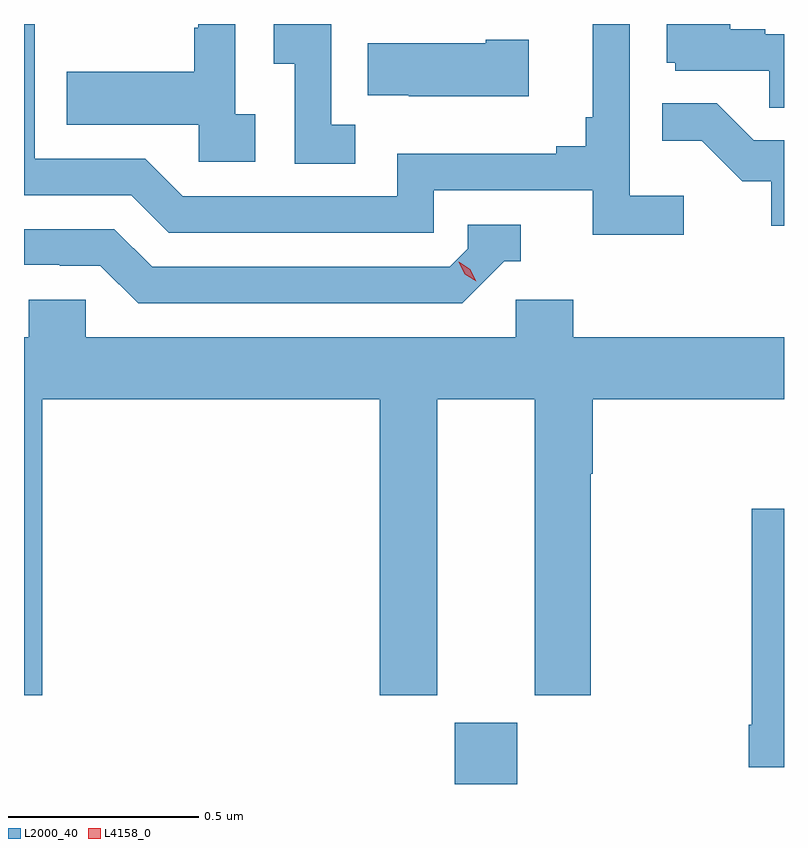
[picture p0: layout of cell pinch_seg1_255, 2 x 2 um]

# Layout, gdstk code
import gdstk
lib = gdstk.Library(unit=1e-6, precision=1e-09)
def R(c, l, rs):  # rectangles x0, y0, x1, y1
    for r in rs: c.add(gdstk.rectangle(r[:2], r[2:], *l))
def P(c, l, *ps):  # polygons
    for p in ps: c.add(gdstk.Polygon(p, *l))
L2000_40 = (2000, 40)
L4158_0 = (4158, 0)

pinch_seg1_255 = lib.new_cell('pinch_seg1_255')
R(pinch_seg1_255, L2000_40, [(902.492,574.696,902.656,574.857)])
P(pinch_seg1_255, L2000_40, [(903.358,576.669),(903.308,576.669),(903.308,576.682),(903.216,576.682),(903.216,576.696),(903.05,576.696),(903.05,576.594),(903.072,576.594),(903.072,576.573),(903.319,576.573),(903.319,576.475),(903.358,576.475)],
  [(901.966,576.458),(901.914,576.458),(901.914,576.696),(901.816,576.696),(901.816,576.686),(901.806,576.686),(901.806,576.571),(901.471,576.571),(901.471,576.431),(901.818,576.431),(901.818,576.333),(901.966,576.333)],
  [(902.23,576.431),(902.166,576.431),(902.166,576.696),(902.015,576.696),(902.015,576.592),(902.07,576.592),(902.07,576.328),(902.23,576.328)],
  [(903.094,576.244),(902.952,576.244),(902.952,576.696),(902.855,576.696),(902.855,576.451),(902.836,576.451),(902.836,576.374),(902.759,576.374),(902.759,576.355),(902.34,576.355),(902.34,576.243),(901.776,576.243),(901.677,576.342),(901.386,576.342),(901.386,576.696),(901.358,576.696),(901.358,576.246),(901.64,576.246),(901.739,576.147),(902.436,576.147),(902.436,576.258),(902.855,576.258),(902.855,576.142),(903.094,576.142)],
  [(902.686,576.654),(902.573,576.654),(902.573,576.646),(902.263,576.646),(902.263,576.509),(902.371,576.509),(902.371,576.506),(902.686,576.506)],
  [(903.358,576.39),(903.279,576.39),(903.181,576.488),(903.037,576.488),(903.037,576.389),(903.141,576.389),(903.248,576.282),(903.325,576.282),(903.325,576.165),(903.358,576.165)],
  [(902.622,576.072),(902.665,576.072),(902.665,576.168),(902.526,576.168),(902.526,576.105),(902.478,576.057),(901.695,576.057),(901.596,576.156),(901.358,576.156),(901.358,576.063),(901.452,576.063),(901.452,576.06),(901.559,576.06),(901.658,575.961),(902.511,575.961)],
  [(901.406,575.708),(902.294,575.708),(902.294,574.929),(902.446,574.929),(902.446,575.708),(902.702,575.708),(902.702,574.929),(902.85,574.929),(902.85,575.512),(902.855,575.512),(902.855,575.708),(903.358,575.708),(903.358,575.872),(902.804,575.872),(902.804,575.97),(902.652,575.97),(902.652,575.872),(901.521,575.872),(901.521,575.97),(901.371,575.97),(901.371,575.872),(901.358,575.872),(901.358,574.929),(901.406,574.929)],
  [(903.358,575.42),(903.273,575.42),(903.273,574.852),(903.265,574.852),(903.265,574.74),(903.358,574.74)])
P(pinch_seg1_255, L4158_0, [(902.548,576.019),(902.518,576.038),(902.502,576.07),(902.502,576.071),(902.502,576.071),(902.532,576.051),(902.548,576.019),(902.548,576.019)])

lib.write_gds('pinch_seg1_255.gds')
